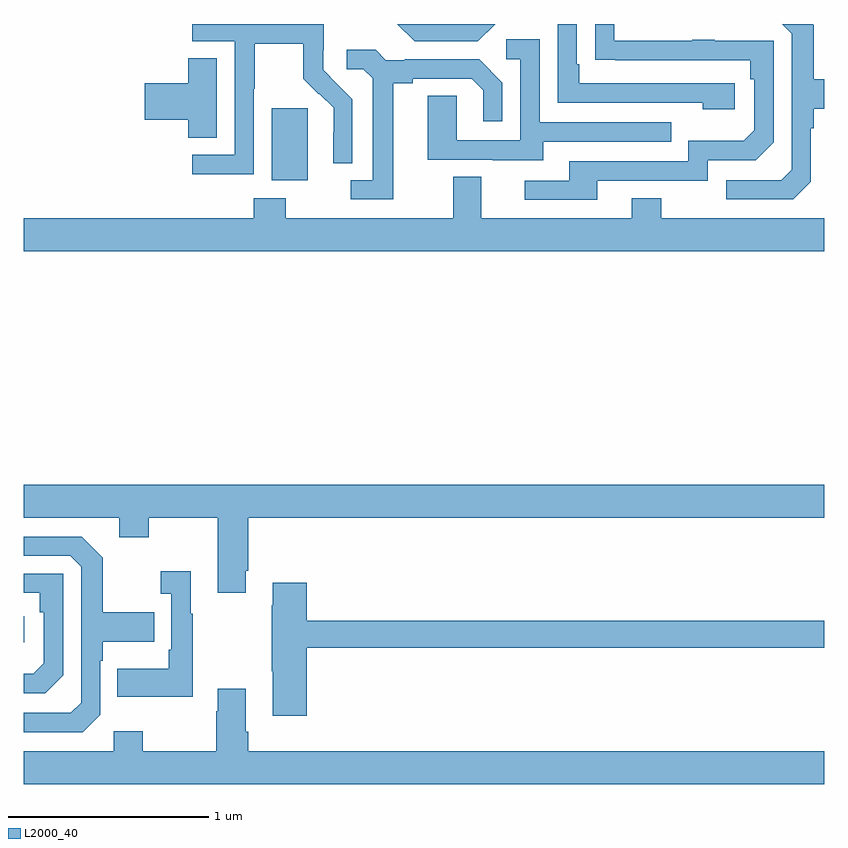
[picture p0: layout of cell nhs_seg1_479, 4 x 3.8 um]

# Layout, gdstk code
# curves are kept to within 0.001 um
import gdstk
lib = gdstk.Library(unit=1e-6, precision=1e-09)
def R(c, l, rs):  # rectangles x0, y0, x1, y1
    for r in rs: c.add(gdstk.rectangle(r[:2], r[2:], *l))
def P(c, l, *ps):  # polygons
    for p in ps: c.add(gdstk.Polygon(p, *l))
L2000_40 = (2000, 40)

nhs_seg1_479 = lib.new_cell('nhs_seg1_479')
R(nhs_seg1_479, L2000_40, [(137,551.108,137.002,551.238), (138.239,553.418,138.418,553.779)])
P(nhs_seg1_479, L2000_40, [(139.867,553.416),(140.418,553.416),(140.418,553.518),(140.658,553.518),(140.748,553.608),(140.748,554.115),(140.453,554.115),(140.453,554.12),(140.341,554.12),(140.341,554.115),(139.951,554.115),(139.951,554.199),(139.855,554.199),(139.855,554.02),(140.632,554.019),(140.632,553.922),(140.652,553.922),(140.652,553.668),(140.599,553.615),(140.322,553.615),(140.322,553.512),(139.727,553.512),(139.727,553.416),(139.503,553.416),(139.503,553.32),(139.867,553.32)],
  [(138.15,553.876),(138.153,553.876),(138.153,554.1),(138.397,554.1),(138.397,553.925),(138.474,553.848),(138.477,553.851),(138.548,553.781),(138.548,553.658),(138.546,553.658),(138.546,553.504),(138.642,553.504),(138.642,553.822),(138.496,553.97),(138.496,554.067),(138.498,554.067),(138.498,554.199),(137.841,554.199),(137.841,554.112),(138.054,554.112),(138.054,553.545),(137.841,553.545),(137.841,553.447),(138.15,553.447)],
  [(139.356,554.199),(138.867,554.199),(138.954,554.112),(139.269,554.112)],
  [(140.554,553.902),(139.777,553.902),(139.777,553.999),(139.764,553.999),(139.764,554.199),(139.668,554.199),(139.668,553.806),(140.393,553.806),(140.393,553.772),(140.554,553.772)],
  [(140.934,553.41),(140.934,553.679),(140.947,553.679),(140.947,553.775),(141,553.775),(141,553.923),(140.947,553.923),(140.947,554.195),(140.943,554.199),(140.79,554.199),(140.838,554.151),(140.838,553.47),(140.787,553.419),(140.511,553.419),(140.511,553.323),(140.847,553.323)],
  [(139.597,553.611),(140.237,553.611),(140.237,553.707),(139.578,553.707),(139.578,554.123),(139.41,554.123),(139.41,554.022),(139.482,554.022),(139.482,553.617),(139.164,553.617),(139.164,553.841),(139.019,553.841),(139.019,553.521),(139.343,553.521),(139.343,553.517),(139.597,553.517)],
  [(138.847,553.904),(138.943,553.904),(138.943,553.926),(139.238,553.926),(139.295,553.869),(139.295,553.713),(139.392,553.713),(139.392,553.906),(139.276,554.022),(138.904,554.022),(138.904,554.019),(138.81,554.019),(138.758,554.071),(138.615,554.071),(138.615,553.974),(138.696,553.974),(138.743,553.927),(138.743,553.419),(138.633,553.419),(138.633,553.323),(138.847,553.323)],
  [(137.965,554.027),(137.822,554.027),(137.822,553.904),(137.604,553.904),(137.604,553.721),(137.822,553.721),(137.822,553.63),(137.965,553.63)],
  [(141,553.228),(140.187,553.228),(140.187,553.327),(140.039,553.327),(140.039,553.228),(139.285,553.228),(139.285,553.436),(139.145,553.436),(139.145,553.228),(138.309,553.228),(138.309,553.327),(138.149,553.327),(138.149,553.228),(137,553.228),(137,553.064),(141,553.064)],
  [(138.109,551.467),(138.122,551.467),(138.122,551.732),(141,551.732),(141,551.896),(137,551.896),(137,551.732),(137.477,551.732),(137.477,551.633),(137.625,551.633),(137.625,551.732),(137.969,551.732),(137.969,551.355),(138.109,551.355)],
  [(137.382,550.746),(137.382,551.015),(137.395,551.015),(137.395,551.111),(137.651,551.111),(137.651,551.259),(137.395,551.259),(137.395,551.531),(137.289,551.637),(137,551.637),(137,551.541),(137.232,551.541),(137.286,551.487),(137.286,550.806),(137.235,550.755),(137,550.755),(137,550.659),(137.295,550.659)],
  [(137.845,551.251),(137.833,551.251),(137.833,551.464),(137.685,551.464),(137.685,551.351),(137.736,551.351),(137.736,551.071),(137.724,551.071),(137.724,550.975),(137.467,550.975),(137.467,550.835),(137.845,550.835)],
  [(137.196,550.944),(137.196,551.451),(137,551.451),(137,551.355),(137.08,551.355),(137.08,551.258),(137.1,551.258),(137.1,551.004),(137.047,550.951),(137,550.951),(137,550.854),(137.106,550.854)],
  [(138.413,551.08),(141,551.08),(141,551.216),(138.413,551.216),(138.413,551.407),(138.245,551.407),(138.245,551.294),(138.238,551.294),(138.238,550.963),(138.245,550.963),(138.245,550.74),(138.413,550.74)],
  [(141,550.564),(138.122,550.564),(138.122,550.66),(138.109,550.66),(138.109,550.876),(137.969,550.876),(137.969,550.763),(137.962,550.763),(137.962,550.564),(137.595,550.564),(137.595,550.663),(137.448,550.663),(137.448,550.564),(137,550.564),(137,550.4),(141,550.4)])

lib.write_gds('nhs_seg1_479.gds')
